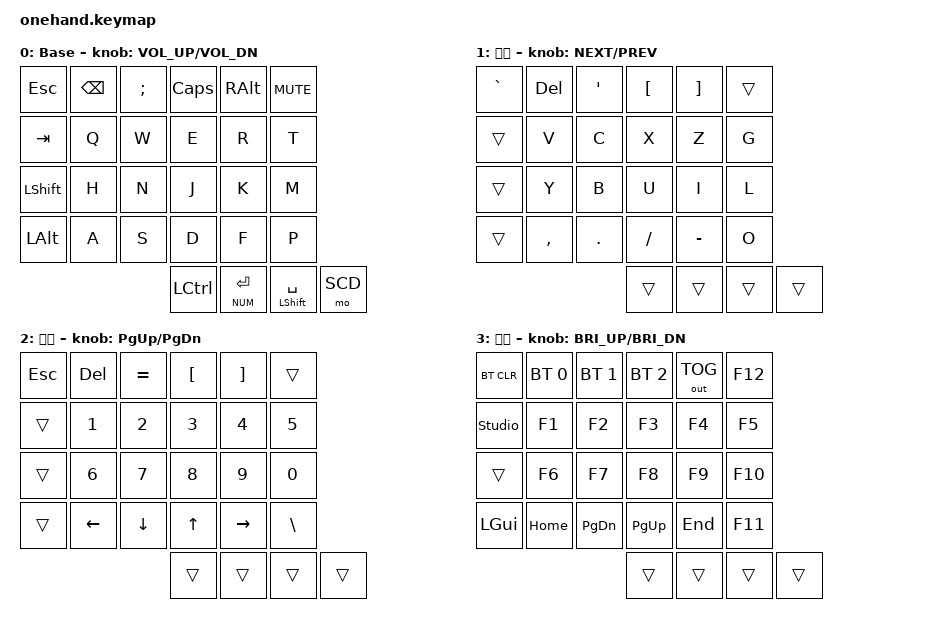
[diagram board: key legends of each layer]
/*
 * 한손 키보드 1호 — 키 배치
 *
 * 층(layer)
 *   0 BASE : 기본 (영문/한글)
 *   1 SCD  : 둘째층 — 엄지 열6을 누른 채
 *   2 NUM  : 숫자층 — 엄지 열4를 누른 채
 *   3 FN   : 기능층 — 둘째와 숫자를 동시에 누른 채 (F키, 블루투스, 이동키)
 *
 * 엄지 (줄4)
 *   열3 Ctrl         열4 짧게 Enter / 길게 숫자층
 *   열5 짧게 Space / 길게 Shift      열6 둘째층
 *
 * 한/영: 오른쪽 Alt (윈도우 기본 한국어 자판). 안 되면 RALT 대신 LANG1 로 바꾸세요.
 */

#include <behaviors.dtsi>
#include <dt-bindings/zmk/keys.h>
#include <dt-bindings/zmk/bt.h>
#include <dt-bindings/zmk/outputs.h>

#define BASE 0
#define SCD  1
#define NUM  2
#define FN   3

/ {
    conditional_layers {
        compatible = "zmk,conditional-layers";
        fn_layer {
            if-layers = <SCD NUM>;
            then-layer = <FN>;
        };
    };

    behaviors {
        /* Space 짧게 / Shift 길게. 빠르게 칠 때 Shift로 오인되지 않게 tap-preferred */
        sft_spc: shift_space {
            compatible = "zmk,behavior-hold-tap";
            #binding-cells = <2>;
            flavor = "tap-preferred";
            tapping-term-ms = <200>;
            quick-tap-ms = <150>;
            bindings = <&kp>, <&kp>;
        };
    };

    keymap {
        compatible = "zmk,keymap";

        base_layer {
            display-name = "Base";
            bindings = <
&kp ESC    &kp BSPC   &kp SEMI   &kp CAPS   &kp RALT   &kp C_MUTE
&kp TAB    &kp Q      &kp W      &kp E      &kp R      &kp T
&kp LSHFT  &kp H      &kp N      &kp J      &kp K      &kp M
&kp LALT   &kp A      &kp S      &kp D      &kp F      &kp P
                                 &kp LCTRL  &lt NUM ENTER  &sft_spc LSHFT SPACE  &mo SCD
            >;
            sensor-bindings = <&inc_dec_kp C_VOL_UP C_VOL_DN>;
        };

        scd_layer {
            display-name = "둘째";
            bindings = <
&kp GRAVE  &kp DEL    &kp SQT    &kp LBKT   &kp RBKT   &trans
&trans     &kp V      &kp C      &kp X      &kp Z      &kp G
&trans     &kp Y      &kp B      &kp U      &kp I      &kp L
&trans     &kp COMMA  &kp DOT    &kp FSLH   &kp MINUS  &kp O
                                 &trans     &trans     &trans     &trans
            >;
            sensor-bindings = <&inc_dec_kp C_NEXT C_PREV>;
        };

        num_layer {
            display-name = "숫자";
            bindings = <
&kp ESC    &kp DEL    &kp EQUAL  &kp LBKT   &kp RBKT   &trans
&trans     &kp N1     &kp N2     &kp N3     &kp N4     &kp N5
&trans     &kp N6     &kp N7     &kp N8     &kp N9     &kp N0
&trans     &kp LEFT   &kp DOWN   &kp UP     &kp RIGHT  &kp BSLH
                                 &trans     &trans     &trans     &trans
            >;
            sensor-bindings = <&inc_dec_kp PG_UP PG_DN>;
        };

        fn_layer {
            display-name = "기능";
            bindings = <
&bt BT_CLR &bt BT_SEL 0 &bt BT_SEL 1 &bt BT_SEL 2 &out OUT_TOG &kp F12
&studio_unlock &kp F1  &kp F2     &kp F3     &kp F4     &kp F5
&trans     &kp F6     &kp F7     &kp F8     &kp F9     &kp F10
&kp LGUI   &kp HOME   &kp PG_DN  &kp PG_UP  &kp END    &kp F11
                                 &trans     &trans     &trans     &trans
            >;
            sensor-bindings = <&inc_dec_kp C_BRI_UP C_BRI_DN>;
        };
    };
};
